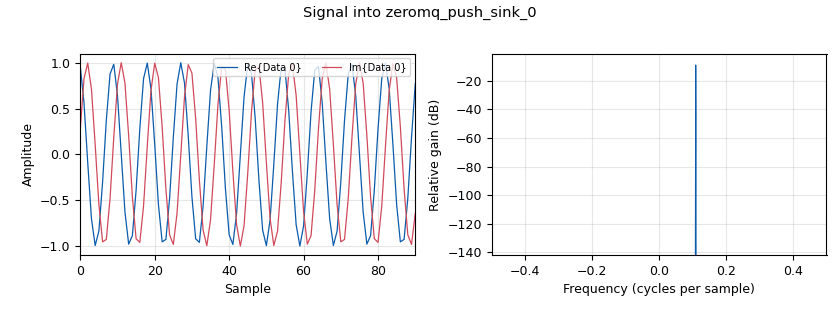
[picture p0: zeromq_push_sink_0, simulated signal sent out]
<?xml version='1.0' encoding='utf-8'?>
<?grc format='1' created='3.7.11'?>
<flow_graph>
<block>
<key>options</key>
<param><key>id</key><value>top_block</value></param>
<param><key>generate_options</key><value>qt_gui</value></param>
</block>
<block>
<key>variable_qtgui_entry</key>
<param><key>id</key><value>freq</value></param>
<param><key>value</key><value>3500</value></param>
<param><key>type</key><value>real</value></param>
</block>
<block>
<key>variable</key>
<param><key>id</key><value>samp_rate</value></param>
<param><key>value</key><value>32000</value></param>
</block>
<block>
<key>variable</key>
<param><key>id</key><value>tcp_addr</value></param>
<param><key>value</key><value>"tcp://127.0.0.1:5555"</value></param>
</block>
<block>
<key>analog_sig_source_x</key>
<param><key>id</key><value>analog_sig_source_x_0</value></param>
<param><key>amp</key><value>1</value></param>
<param><key>freq</key><value>freq</value></param>
<param><key>offset</key><value>0</value></param>
<param><key>type</key><value>complex</value></param>
<param><key>samp_rate</key><value>samp_rate</value></param>
<param><key>waveform</key><value>analog.GR_COS_WAVE</value></param>
</block>
<block>
<key>blocks_throttle</key>
<param><key>id</key><value>blocks_throttle_0</value></param>
<param><key>samples_per_second</key><value>samp_rate</value></param>
<param><key>type</key><value>complex</value></param>
</block>
<block>
<key>qtgui_freq_sink_x</key>
<param><key>id</key><value>qtgui_freq_sink_x_0</value></param>
<param><key>bw</key><value>samp_rate</value></param>
<param><key>fc</key><value>0</value></param>
<param><key>fftsize</key><value>1024</value></param>
<param><key>showports</key><value>True</value></param>
<param><key>type</key><value>complex</value></param>
<param><key>wintype</key><value>firdes.WIN_BLACKMAN_hARRIS</value></param>
</block>
<block>
<key>zeromq_pull_source</key>
<param><key>id</key><value>zeromq_pull_source_0</value></param>
<param><key>address</key><value>tcp_addr</value></param>
<param><key>type</key><value>complex</value></param>
<param><key>timeout</key><value>100</value></param>
</block>
<block>
<key>zeromq_push_sink</key>
<param><key>id</key><value>zeromq_push_sink_0</value></param>
<param><key>address</key><value>tcp_addr</value></param>
<param><key>type</key><value>complex</value></param>
<param><key>timeout</key><value>100</value></param>
</block>
<connection><source_block_id>analog_sig_source_x_0</source_block_id><sink_block_id>blocks_throttle_0</sink_block_id><source_key>0</source_key><sink_key>0</sink_key></connection>
<connection><source_block_id>blocks_throttle_0</source_block_id><sink_block_id>zeromq_push_sink_0</sink_block_id><source_key>0</source_key><sink_key>0</sink_key></connection>
<connection><source_block_id>zeromq_pull_source_0</source_block_id><sink_block_id>qtgui_freq_sink_x_0</sink_block_id><source_key>0</source_key><sink_key>0</sink_key></connection>
</flow_graph>
